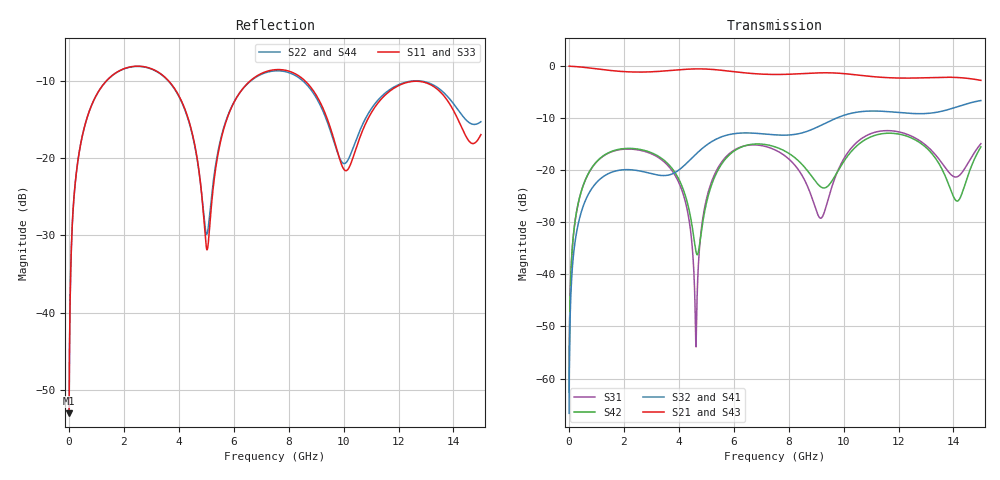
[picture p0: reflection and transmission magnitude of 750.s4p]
! Created with skrf 1.8.0 (http://scikit-rf.org).
# GHz S RI R 50.0
!freq ReS11 ImS11 ReS12 ImS12 ReS13 ImS13
! ReS14 ImS14
! ReS21 ImS21 ReS22 ImS22 ReS23 ImS23
! ReS24 ImS24
! ReS31 ImS31 ReS32 ImS32 ReS33 ImS33
! ReS34 ImS34
! ReS41 ImS41 ReS42 ImS42 ReS43 ImS43
! ReS44 ImS44
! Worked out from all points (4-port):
!   2499 points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, 5 MHz to 15 GHz, reference 50 ohm
!   strongest paths, dB at 5 MHz, 3.476 GHz, 7.19 GHz, 11.1 GHz, 15 GHz:
!     S21: 0.0, -0.9, -1.6, -2.0, -2.7
!     S43: 0.0, -0.9, -1.6, -2.0, -2.7
!     S32: -66.7, -21.0, -13.1, -8.6, -6.6
!     S41: -66.7, -21.1, -13.1, -8.7, -6.6
!     S42: -62.7, -18.1, -15.1, -13.4, -15.5
!     S31: -62.7, -18.4, -15.5, -12.8, -14.9
!   lowest |S11| = -53.0 dB at 5 MHz (marker M1), VSWR 1.00, Z = 50.2 + j0.136 ohm
!   |S11| at or under -10 dB: start of sweep to 1.373 GHz; 3.619 GHz to 6.612 GHz (2.993 GHz wide, 58.5 % of centre); 8.584 GHz to end of sweep
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0.005  0.00179 0.00135  0.9982 -0.00348  9.09e-05 0.000731  -8.82e-05 -0.000455
       0.9982 -0.00348  0.00179 0.00135  -8.82e-05 -0.000455  9.1e-05 0.000731
       9.09e-05 0.000731  -8.82e-05 -0.000455  0.00179 0.00135  0.9982 -0.00348
       -8.82e-05 -0.000455  9.1e-05 0.000731  0.9982 -0.00348  0.00179 0.00135
0.3126303  0.0278 0.0883  0.9619 -0.2154  0.0131 0.043  -0.011 -0.0263
           0.9619 -0.2154  0.0278 0.0883  -0.011 -0.0263  0.0134 0.0429
           0.0131 0.043  -0.011 -0.0263  0.0278 0.0883  0.9619 -0.2154
           -0.011 -0.0263  0.0134 0.0429  0.9619 -0.2154  0.0278 0.0883
1.419341  0.2695 0.1771  0.5514 -0.7274  0.1292 0.0663  -0.092 -0.00662
          0.5514 -0.7274  0.2682 0.178  -0.0922 -0.00643  0.1328 0.0615
          0.1292 0.0663  -0.0922 -0.00643  0.2693 0.1772  0.5514 -0.7274
          -0.092 -0.00662  0.1328 0.0615  0.5514 -0.7274  0.2682 0.1779
4.620675  0.0495 -0.0998  -0.8869 -0.311  0.00202 -0.000189  -0.0442 0.1355
          -0.8869 -0.311  0.0552 -0.0947  -0.0414 0.1364  -0.0149 -0.00781
          0.00202 -0.000189  -0.0414 0.1364  0.0497 -0.0989  -0.887 -0.3109
          -0.0442 0.1355  -0.0149 -0.00781  -0.887 -0.3109  0.0544 -0.0942
5.739892  0.1083 0.1392  -0.8299 0.3488  0.0959 0.097  0.1078 0.1878
          -0.8299 0.3488  0.1139 0.1379  0.1117 0.186  0.0898 0.0968
          0.0959 0.097  0.1117 0.186  0.1085 0.1396  -0.8297 0.3488
          0.1078 0.1878  0.0898 0.0968  -0.8297 0.3488  0.1145 0.1393
10.10421  0.0826 -0.00693  0.8358 0.1052  0.00988 0.1411  0.0413 -0.34
          0.8358 0.1052  0.0937 0.00567  0.0292 -0.3414  -0.0211 0.1306
          0.00988 0.1411  0.0292 -0.3414  0.0821 -0.0107  0.8356 0.107
          0.0413 -0.34  -0.0211 0.1306  0.8356 0.107  0.0942 0.0057
15  0.1368 0.0361  -0.6991 -0.2089  -0.0643 0.1681  -0.1347 0.4486
    -0.6991 -0.2089  0.1715 -0.00261  -0.1096 0.4538  0.00128 0.1675
    -0.0643 0.1681  -0.1096 0.4538  0.1478 0.0296  -0.6981 -0.2132
    -0.1347 0.4486  0.00128 0.1675  -0.6981 -0.2132  0.1639 -0.00282
